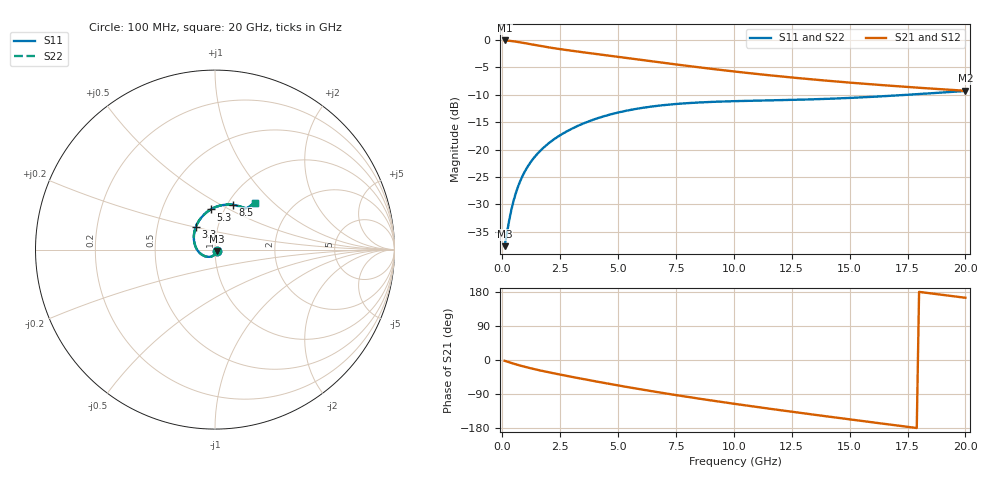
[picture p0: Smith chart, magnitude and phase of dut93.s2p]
! Touchstone file exported from HFSS 2023.1.0
!  File:  D:/Users/fzz/RDL_TSV/temp_RDL_TSV_93_1778748428.aedt
!  Generated:  4:54:23 %x4E0B%x5348  5%x6708 14, 2026
!  Design:  RDL_TSV
!  Project:  temp_RDL_TSV_93_1778748428
!  Setup:  Setup1
!  Solution:  Sweep
! Variables:
!  dtsv = 21.82um
!  hbump = 3um
!  htsv = 69.64um
!  ldown = 171.73um
!  lrdl = 459.58um
!  p = 40
!  p1 = 55.59um
!  rhole = 10um
!  subl = 2353.51um
!  t = 450um
!  tdown = 4.44um
!  trdl = 3.96um
!  viad = 10um
!  wdown = 23.24um
!  wrdl = 17.8um
!  xbump = 18um
# GHz S MA R 50.000000
! Terminal data exported
! Port[1] = TM1_1_T1
! Port[2] = TM1_4_T1
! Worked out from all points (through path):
!   200 points, 100 MHz to 20 GHz, reference 50 ohm
!   highest |S21| = -0.11 dB at 100 MHz (marker M1); lowest = -9.3 dB at 20 GHz (marker M2)
!   group delay of S21, straight-line fit = 25.7 ps
!   lowest |S11| = -37.6 dB at 100 MHz (marker M3), VSWR 1.03, Z = 51.1 - j0.804 ohm
!   |S11| at or under -10 dB: start of sweep to 17.53 GHz
!   |S22| runs from -37.6 to -9.3 dB; largest |S21 - S12| = 1.2e-14
!   S11 on the Smith chart (normalised r, x): 100 MHz: 1.02, -0.02; 3.3 GHz: 0.78, +0.21; 5.3 GHz: 0.86, +0.41; 8.5 GHz: 1.07, +0.57; 20 GHz: 1.31, +0.77
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0.1  0.01318 -36.7  0.9877 -2.1  0.9877 -2.1  0.01318 -36.7
! Gamma 0 0 0 0
! Port Impedance 50 0 50 0
0.3  0.02277 -81.7  0.9808 -6.1  0.9808 -6.1  0.02277 -81.7
0.4  0.02877 -95.1  0.9754 -8.0  0.9754 -8.0  0.02877 -95.1
0.5  0.03495 -105.8  0.9692 -9.9  0.9692 -9.9  0.03496 -105.8
0.6  0.04113 -115.0  0.9623 -11.7  0.9623 -11.7  0.04114 -115.0
0.8  0.05319 -130.6  0.9469 -15.2  0.9469 -15.2  0.0532 -130.7
1.1  0.07017 -150.1  0.9221 -20.0  0.9221 -20.0  0.0702 -150.1
1.5  0.09077 -171.3  0.8899 -25.7  0.8899 -25.7  0.09084 -171.3
2  0.114 167.6  0.8541 -32.3  0.8541 -32.3  0.1141 167.5
2.6  0.1393 147.7  0.8175 -39.7  0.8175 -39.7  0.1395 147.7
3.3  0.1659 129.8  0.7802 -48.0  0.7802 -48.0  0.1662 129.8
3.5  0.173 125.5  0.7702 -50.3  0.7702 -50.3  0.1733 125.4
4.4  0.2016 108.9  0.7272 -60.5  0.7272 -60.5  0.202 108.9
5.3  0.2248 96.0  0.6866 -70.3  0.6866 -70.3  0.2254 96.0
6.8  0.2519 80.1  0.624 -85.7  0.624 -85.7  0.2527 80.0
8.5  0.2688 67.9  0.5619 -102.0  0.5619 -102.0  0.2697 67.8
10.1  0.2766 60.4  0.5127 -116.3  0.5127 -116.3  0.2776 60.4
11.7  0.2814 55.9  0.4718 -129.9  0.4718 -129.9  0.2824 55.8
13.4  0.2872 53.4  0.4359 -143.8  0.4359 -143.8  0.2882 53.2
15  0.2956 52.2  0.4079 -156.6  0.4079 -156.6  0.2966 52.0
16.7  0.3086 51.5  0.3827 -170.1  0.3827 -170.1  0.3095 51.3
20  0.342 49.7  0.3435 164.2  0.3435 164.2  0.3427 49.5
